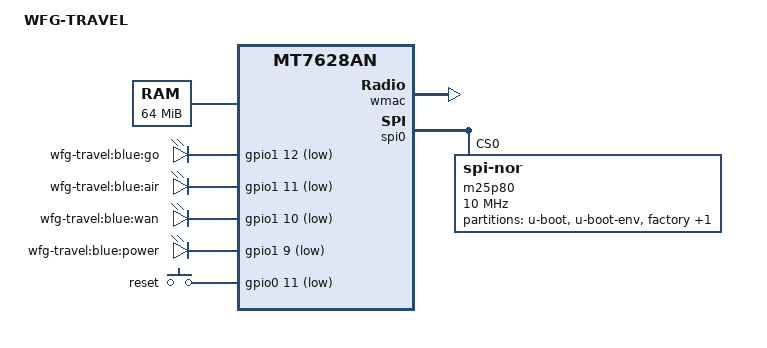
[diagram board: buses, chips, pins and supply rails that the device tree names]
/dts-v1/;

#include "mt7628an.dtsi"

#include <dt-bindings/gpio/gpio.h>
#include <dt-bindings/input/input.h>

/ {
	compatible = "wififreego,WFG-TRAVEL", "mediatek,mt7628an-soc";
	model = "WFG-TRAVEL";

	chosen {
		bootargs = "console=ttyS0,57600";
	};

	memory@0 {
		device_type = "memory";
		reg = <0x0 0x4000000>;
	};

	gpio-leds {
		compatible = "gpio-leds";
		/* gpio0 0-31 
			gpio1 32-63 */

		go {
			label = "wfg-travel:blue:go";
			gpios = <&gpio1 12 1>;
		};
		air {
			label = "wfg-travel:blue:air";
			gpios = <&gpio1 11 1>;
		};
		wan {
			label = "wfg-travel:blue:wan";
			gpios = <&gpio1 10 1>;
		};
		power {
      label = "wfg-travel:blue:power";
      gpios = <&gpio1 9 1>;
    };
	};

	gpio-keys {
		compatible = "gpio-keys-polled";
		#address-cells = <1>;
		#size-cells = <0>;
		poll-interval = <20>;

		reset {
			label = "reset";
			gpios = <&gpio0 11 1>;
			linux,code = <KEY_RESTART>;
		};
	};
};

&pinctrl {
	state_default: pinctrl0 {
		gpio {
			ralink,group = "i2s", "refclk", "wled_an", "p0led_an", "p1led_an", "p2led_an";
			ralink,function = "gpio";
		};
/*		wled_an {
      ralink,group = "wled_an";
      ralink,function = "wled_an";
    }; */
	};
};

&wmac {
	status = "okay";
	ralink,mtd-eeprom = <&factory 0x4>;
};

&ethernet {
	mtd-mac-address = <&factory 0x28>;
};

&spi0 {
	status = "okay";

	m25p80@0 {
		#address-cells = <1>;
		#size-cells = <1>;
		compatible = "jedec,spi-nor";
		reg = <0>;
		spi-max-frequency = <10000000>;
		m25p,chunked-io = <32>;

		partition@0 {
			label = "u-boot";
			reg = <0x0 0x30000>;
			read-only;
		};

		partition@30000 {
			label = "u-boot-env";
			reg = <0x30000 0x10000>;
			read-only;
		};

		factory: partition@40000 {
			label = "factory";
			reg = <0x40000 0x10000>;
			read-only;
		};

		partition@50000 {
			label = "firmware";
			reg = <0x50000 0xfb0000>;
		};
	};
};
